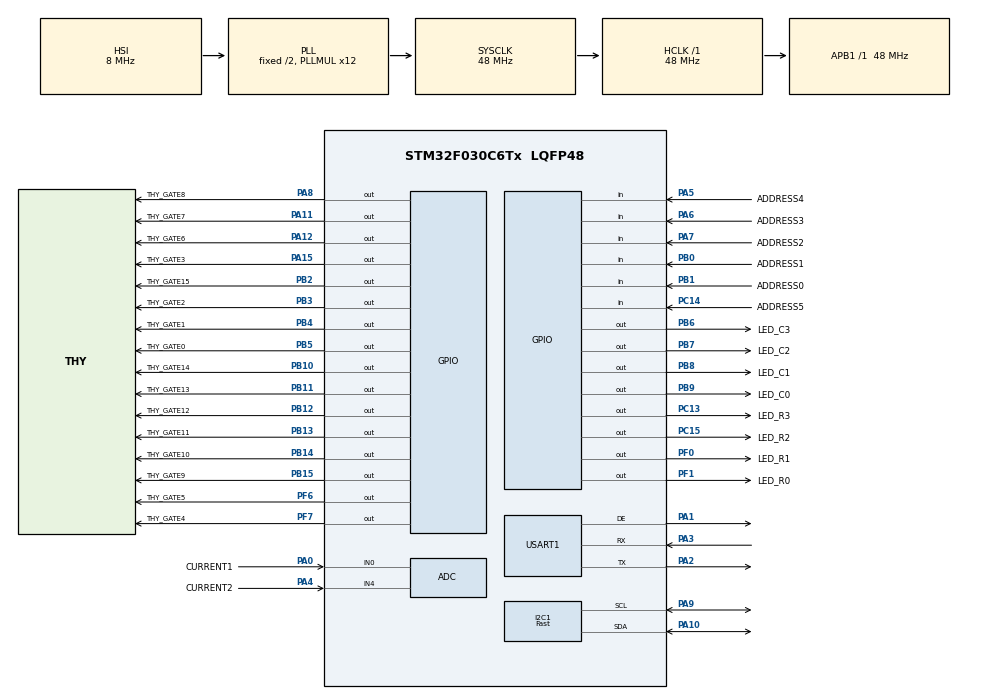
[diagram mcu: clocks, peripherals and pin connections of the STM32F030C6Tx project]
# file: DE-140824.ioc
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I2C1.I2C_Speed_Mode=I2C_Fast
I2C1.Timing=0x0010020A
Mcu.Family=STM32F0
Mcu.Name=STM32F030C6Tx
Mcu.Package=LQFP48
NVIC.TIM14_IRQn=true\:3\:0\:true\:false\:true\:true\:true\:true
NVIC.USART1_IRQn=true\:0\:0\:false\:false\:true\:true\:true\:true
PA0.GPIO_Label=CURRENT1
PA0.Mode=IN0
PA0.Signal=ADC_IN0
PA1.Mode=Hardware Flow Control (RS485)
PA1.Signal=USART1_DE
PA10.Mode=I2C
PA10.Signal=I2C1_SDA
PA11.GPIO_Label=THY_GATE7
PA11.Signal=GPIO_Output
PA12.GPIO_Label=THY_GATE6
PA12.Signal=GPIO_Output
PA13.Mode=Serial_Wire
PA13.Signal=SYS_SWDIO
PA14.Mode=Serial_Wire
PA14.Signal=SYS_SWCLK
PA15.GPIO_Label=THY_GATE3
PA15.Signal=GPIO_Output
PA2.Mode=Asynchronous
PA2.Signal=USART1_TX
PA3.Mode=Asynchronous
PA3.Signal=USART1_RX
PA4.GPIO_Label=CURRENT2
PA4.Mode=IN4
PA4.Signal=ADC_IN4
PA5.GPIO_Label=ADDRESS4
PA5.GPIO_PuPd=GPIO_PULLUP
PA5.Signal=GPIO_Input
PA6.GPIO_Label=ADDRESS3
PA6.GPIO_PuPd=GPIO_PULLUP
PA6.Signal=GPIO_Input
PA7.GPIO_Label=ADDRESS2
PA7.GPIO_PuPd=GPIO_PULLUP
PA7.Signal=GPIO_Input
PA8.GPIO_Label=THY_GATE8
PA8.Signal=GPIO_Output
PA9.Mode=I2C
PA9.Signal=I2C1_SCL
PB0.GPIO_Label=ADDRESS1
PB0.GPIO_PuPd=GPIO_PULLUP
PB0.Signal=GPIO_Input
PB1.GPIO_Label=ADDRESS0
PB1.GPIO_PuPd=GPIO_PULLUP
PB1.Signal=GPIO_Input
PB10.GPIO_Label=THY_GATE14
PB10.Signal=GPIO_Output
PB11.GPIO_Label=THY_GATE13
PB11.Signal=GPIO_Output
PB12.GPIO_Label=THY_GATE12
PB12.Signal=GPIO_Output
PB13.GPIO_Label=THY_GATE11
PB13.Signal=GPIO_Output
PB14.GPIO_Label=THY_GATE10
PB14.Signal=GPIO_Output
PB15.GPIO_Label=THY_GATE9
PB15.Signal=GPIO_Output
PB2.GPIO_Label=THY_GATE15
PB2.Signal=GPIO_Output
PB3.GPIO_Label=THY_GATE2
PB3.Signal=GPIO_Output
PB4.GPIO_Label=THY_GATE1
PB4.Signal=GPIO_Output
PB5.GPIO_Label=THY_GATE0
PB5.Signal=GPIO_Output
PB6.GPIO_Label=LED_C3
PB6.Signal=GPIO_Output
PB7.GPIO_Label=LED_C2
PB7.Signal=GPIO_Output
PB8.GPIO_Label=LED_C1
PB8.Signal=GPIO_Output
PB9.GPIO_Label=LED_C0
PB9.Signal=GPIO_Output
PC13.GPIO_Label=LED_R3
PC13.Signal=GPIO_Output
PC14-OSC32_IN.GPIO_Label=ADDRESS5
PC14-OSC32_IN.GPIO_PuPd=GPIO_PULLUP
PC14-OSC32_IN.Signal=GPIO_Input
PC15-OSC32_OUT.GPIO_Label=LED_R2
PC15-OSC32_OUT.Signal=GPIO_Output
PF0-OSC_IN.GPIO_Label=LED_R1
PF0-OSC_IN.Signal=GPIO_Output
PF1-OSC_OUT.GPIO_Label=LED_R0
PF1-OSC_OUT.Signal=GPIO_Output
PF6.GPIO_Label=THY_GATE5
PF6.Signal=GPIO_Output
PF7.GPIO_Label=THY_GATE4
PF7.Signal=GPIO_Output
ProjectManager.HeapSize=0x200
ProjectManager.StackSize=0x400
ProjectManager.TargetToolchain=MDK-ARM V5.32
RCC.AHBFreq_Value=48000000
RCC.APB1Freq_Value=48000000
RCC.APB1TimFreq_Value=48000000
RCC.HCLKFreq_Value=48000000
RCC.PLLMUL=RCC_PLL_MUL12
RCC.SYSCLKFreq_VALUE=48000000
RCC.SYSCLKSource=RCC_SYSCLKSOURCE_PLLCLK
TIM14.Period=\ 5 - 1
TIM14.Prescaler=48000 - 1
USART1.VirtualMode-Asynchronous=VM_ASYNC
USART1.VirtualMode-Hardware\ Flow\ Control\ (RS485)=VM_ASYNC
VP_CRC_VS_CRC.Mode=CRC_Activate
VP_IWDG_VS_IWDG.Mode=IWDG_Activate
VP_TIM14_VS_ClockSourceINT.Mode=Enable_Timer
board=custom

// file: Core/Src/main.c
/* USER CODE BEGIN Header */
/**
  ******************************************************************************
  * @file           : main.c
  * @brief          : Main program body
  ******************************************************************************
  * @attention
  *
  * Copyright (c) 2025 STMicroelectronics.
  * All rights reserved.
  *
  * This software is licensed under terms that can be found in the LICENSE file
  * in the root directory of this software component.
  * If no LICENSE file comes with this software, it is provided AS-IS.
  *
  ******************************************************************************
  */
/* USER CODE END Header */
#include "main.h"

/* USER CODE BEGIN Includes */
#include <stdio.h>
#include <string.h>
#include <stdarg.h>
#include <stdlib.h>
/* USER CODE END Includes */

/* USER CODE BEGIN PD */
#define NUMBER_OF_TRIAC 16
#define SNAKE_LENGTH 4  // Dužina zmije
#define SNAKE_SPEED 20   // Brzina zmije (veća vrednost = sporije)
#define MENU_TIMEOUT    10000 // 10 sekundi timeout
#define BUTTON_PAUSE    200 // dodatni debouncing
#define TOGGLE_INTERVAL 50 // Period treptanja LED
/* USER CODE END PD */

ADC_HandleTypeDef hadc;

CRC_HandleTypeDef hcrc;

I2C_HandleTypeDef hi2c1;

IWDG_HandleTypeDef hiwdg;

TIM_HandleTypeDef htim14;

UART_HandleTypeDef huart1;

/* USER CODE BEGIN PV */
GPIO_TypeDef *TRIAC_PORT[NUMBER_OF_TRIAC] = {GPIOB, GPIOB, GPIOB, GPIOA, GPIOF, GPIOF, GPIOA, GPIOA, GPIOA, GPIOB, GPIOB, GPIOB, GPIOB, GPIOB, GPIOB, GPIOB};
uint16_t GATE_PIN[NUMBER_OF_TRIAC] = {GPIO_PIN_5, GPIO_PIN_4, GPIO_PIN_3, GPIO_PIN_15, GPIO_PIN_7, GPIO_PIN_6 ,GPIO_PIN_12 ,GPIO_PIN_11, GPIO_PIN_8, \
                        GPIO_PIN_15, GPIO_PIN_14, GPIO_PIN_13, GPIO_PIN_12, GPIO_PIN_11, GPIO_PIN_10, GPIO_PIN_2};

volatile uint8_t snake_head = 0;  // Trenutna glava zmije
volatile uint8_t snake_counter = 0;  // Brojač za usporavanje

// Stanje LED dioda (simulacija konstante, treba postavljati u aplikaciji)
volatile uint8_t led_states[NUMBER_OF_TRIAC] = {0};
volatile uint8_t triac_states[NUMBER_OF_TRIAC] = {0};  // Trenutnostanje releja

// Trenutno aktivni red
volatile uint8_t active_row = 0;

volatile uint32_t last_press_time = 0;
volatile uint32_t menu_timer = 0;
volatile uint32_t last_toggle_time = 0;
volatile uint8_t toggle_state = 0;
volatile uint8_t menu_activ = 0;
volatile uint8_t selected_channel = NUMBER_OF_TRIAC - 1;
volatile uint8_t button_select_prev = 0, button_onoff_prev = 0;
volatile uint8_t my_address = 0;
volatile uint8_t first_toggle = 1;
volatile uint16_t triac_start = 0;
volatile uint16_t triac_end = 0;
bool init_tf = false;
bool restart = false;
bool setup_mod = false;
uint8_t rec;
TinyFrame tfapp;
/* USER CODE END PV */

void SystemClock_Config(void);
static void MX_GPIO_Init(void);
static void MX_ADC_Init(void);
static void MX_I2C1_Init(void);
static void MX_IWDG_Init(void);
static void MX_USART1_UART_Init(void);
static void MX_CRC_Init(void);
static void MX_TIM14_Init(void);
/* USER CODE BEGIN PFP */
void RS485_Init(void);
/* USER CODE END PFP */

/* USER CODE BEGIN 0 */
/**
  * @brief  staticka inline funkcija pauze 1~2ms za kašnjenje odgovora za stabilne repeatere
  *         u interruptu se ne može koristiti HAL_GetTick ni HAL_Delay tako da ova funkcija
  *         obezbjeduje kašnjenje oko 1 ms bez hal drivera gubljenjem vremena izvršavanjem
  *         ciklusa koji ne rade ništa
  * @param
  * @retval
  */
static inline void delay_us(uint32_t us) {
    volatile uint32_t cycles = (HAL_RCC_GetHCLKFreq() / 20000000) * us;  // Smanjen faktor
    while (cycles--) {
        __asm volatile("NOP");  // Izbegava optimizaciju
    }
}
/**
  * @brief Podesi rs485 adresu  uređaja prema poziciji DIP sitcheva
  * @retval None
  */
void get_address(void)
{
    my_address = 0;
    if ((HAL_GPIO_ReadPin(ADDRESS0_GPIO_Port, ADDRESS0_Pin) == GPIO_PIN_RESET))   my_address |= 0x20;
    if ((HAL_GPIO_ReadPin(ADDRESS1_GPIO_Port, ADDRESS1_Pin) == GPIO_PIN_RESET))   my_address |= 0x10;
    if ((HAL_GPIO_ReadPin(ADDRESS2_GPIO_Port, ADDRESS2_Pin) == GPIO_PIN_RESET))   my_address |= 0x08;
    if ((HAL_GPIO_ReadPin(ADDRESS3_GPIO_Port, ADDRESS3_Pin) == GPIO_PIN_RESET))   my_address |= 0x04;
    if ((HAL_GPIO_ReadPin(ADDRESS4_GPIO_Port, ADDRESS4_Pin) == GPIO_PIN_RESET))   my_address |= 0x02;
    if ((HAL_GPIO_ReadPin(ADDRESS5_GPIO_Port, ADDRESS5_Pin) == GPIO_PIN_RESET))   my_address |= 0x01;
    if(my_address)
    {
        triac_start = (NUMBER_OF_TRIAC*(my_address-1))+1;
        triac_end = triac_start + NUMBER_OF_TRIAC - 1;
    }
}
/**
  * @brief LED efect for settings menu
  * @retval None
  */
void update_snake(void)
{
    if (++snake_counter < SNAKE_SPEED) {
        return;  // Čekamo dok ne prođe dovoljno ciklusa
    }
    snake_counter = 0;  // Reset brojača

    // Očisti prethodno stanje LED-ova
    for (uint8_t i = 0; i < 16; i++) {
        led_states[i] = 0;  // Privremeno uklanjamo const
    }

    // Podesi svetleće LED-ove
    for (uint8_t i = 0; i < SNAKE_LENGTH; i++) {
        int8_t pos = snake_head - i;
        if (pos < 0) pos += 16;  // Omogućava kružno kretanje po matrici
        led_states[pos] = 1;  // Upali LED
    }

    // Pomeraj zmiju napred
    snake_head = (snake_head + 1) % 16;
}
/**
  * @brief Refresh triac gate outputs
  * @retval None
  */
void set_triac(void)
{
    // Samo proleti kroz sve izlaze i postavi stanje prema baferu
    for (uint8_t i = 0; i < NUMBER_OF_TRIAC; i++)
    {
        HAL_GPIO_WritePin(TRIAC_PORT[i], GATE_PIN[i], (triac_states[i] > 0) ? GPIO_PIN_SET : GPIO_PIN_RESET);
    }
}
/**
  * @brief Copy triac states to LED
  * @retval None
  */
void refresh_led(void)
{
    // Samo kopiraj izlaze na LED
    for (uint8_t i = 0; i < NUMBER_OF_TRIAC; i++)
    {
        led_states[i] = triac_states[i];
    }
}
/**
  * @brief Funkcija za osvežavanje LED matrice
  * @retval None
  */
void refresh_led_matrix(void)
{
    // Isključi trenutno aktivni red
    HAL_GPIO_WritePin(LED_R0_GPIO_Port, LED_R0_Pin, GPIO_PIN_RESET);
    HAL_GPIO_WritePin(LED_R1_GPIO_Port, LED_R1_Pin, GPIO_PIN_RESET);
    HAL_GPIO_WritePin(LED_R2_GPIO_Port, LED_R2_Pin, GPIO_PIN_RESET);
    HAL_GPIO_WritePin(LED_R3_GPIO_Port, LED_R3_Pin, GPIO_PIN_RESET);

    // Očisti kolone
    HAL_GPIO_WritePin(LED_C0_GPIO_Port, LED_C0_Pin, GPIO_PIN_SET);
    HAL_GPIO_WritePin(LED_C1_GPIO_Port, LED_C1_Pin, GPIO_PIN_SET);
    HAL_GPIO_WritePin(LED_C2_GPIO_Port, LED_C2_Pin, GPIO_PIN_SET);
    HAL_GPIO_WritePin(LED_C3_GPIO_Port, LED_C3_Pin, GPIO_PIN_SET);

    // Aktiviraj sledeći red
    switch (active_row) {
    case 0:
        HAL_GPIO_WritePin(LED_R0_GPIO_Port, LED_R0_Pin, GPIO_PIN_SET);
        break;
    case 1:
        HAL_GPIO_WritePin(LED_R1_GPIO_Port, LED_R1_Pin, GPIO_PIN_SET);
        break;
    case 2:
        HAL_GPIO_WritePin(LED_R2_GPIO_Port, LED_R2_Pin, GPIO_PIN_SET);
        break;
    case 3:
        HAL_GPIO_WritePin(LED_R3_GPIO_Port, LED_R3_Pin, GPIO_PIN_SET);
        break;
    }

    // Postavi kolone na osnovu led_state[] tako da se kolone i redovi zamjene
    for (uint8_t row = 0; row < 4; row++) {
        uint8_t index = row * 4 + active_row;  // Zamjeni red i kolonu
        if (led_states[index]) {
            switch (row) {
            case 0:
                HAL_GPIO_WritePin(LED_C0_GPIO_Port, LED_C0_Pin, GPIO_PIN_RESET);
                break;
            case 1:
                HAL_GPIO_WritePin(LED_C1_GPIO_Port, LED_C1_Pin, GPIO_PIN_RESET);
                break;
            case 2:
                HAL_GPIO_WritePin(LED_C2_GPIO_Port, LED_C2_Pin, GPIO_PIN_RESET);
                break;
            case 3:
                HAL_GPIO_WritePin(LED_C3_GPIO_Port, LED_C3_Pin, GPIO_PIN_RESET);
                break;
            }
        }
    }

    // Prebaci na sledeći red
    active_row = (active_row + 1) % 4;
}
/**
  * @brief Front panel taster button processing function
  * @retval None
  */
void handle_buttons(void)
{
    uint32_t current_time = HAL_GetTick();
    uint8_t button_select = HAL_GPIO_ReadPin(GPIOA, GPIO_PIN_14);
    uint8_t button_onoff = HAL_GPIO_ReadPin(GPIOA, GPIO_PIN_13);

    if (button_select == GPIO_PIN_RESET) {
        if (!button_select_prev) {
            button_select_prev = 1; // lock press time load
            menu_activ = 1;
            first_toggle = 1;
            if (++selected_channel >= NUMBER_OF_TRIAC) selected_channel = 0;
            toggle_state = triac_states[selected_channel]; // Resetuj toggle_state po novom kanalu
            menu_timer = current_time + MENU_TIMEOUT;
            last_press_time = current_time; // load first press time
            refresh_led();
            get_address(); // ponovo uzmi adresu
            HAL_Delay(BUTTON_PAUSE);
        }
    }
    else if ((button_select == GPIO_PIN_SET) && button_select_prev)
    {
        button_select_prev = 0;
        HAL_Delay(BUTTON_PAUSE);
        refresh_led();
    }

    if (menu_activ && (button_onoff == GPIO_PIN_RESET)) {
        if (!button_onoff_prev) {
            button_onoff_prev = 1; // lock press time load
            last_press_time = current_time; // load first press time
            triac_states[selected_channel] ^= 1; // Toggle stanja triaka

            // Resetujemo first_toggle i toggle_state kako bi ispravno započelo treperenje
            first_toggle = 1;
            toggle_state = triac_states[selected_channel];
            HAL_Delay(BUTTON_PAUSE);
            refresh_led();
        }
        menu_timer = current_time + MENU_TIMEOUT;
    }
    else if ((button_onoff == GPIO_PIN_SET) && button_onoff_prev)
    {
        button_onoff_prev = 0; // release button press
        HAL_Delay(BUTTON_PAUSE);
    }
}
/**
  * @brief Jednostavan meni za podešavanje stanja izlaza sa različitim odnosom pauze i signala
  *         odabrane LED prema stanju izlaza kraći signal duža pauza za isključen izlaz
  * @retval None
  */
void menu_logic(void)
{
    uint32_t current_time = HAL_GetTick();

    // Resetujemo meni ako istekne vrijeme
    if (current_time > menu_timer) {
        selected_channel = NUMBER_OF_TRIAC - 1;
        menu_activ = 0;
        toggle_state = 0;
        refresh_led();
        first_toggle = 1;  // Resetuj first_toggle ako se resetuje meni
    }

    // Definiši vremenske intervale zavisno od triac_states
    uint32_t on_time, off_time;
    if (triac_states[selected_channel] == 1) {
        on_time = TOGGLE_INTERVAL * 5;  // LED ON duže
        off_time = TOGGLE_INTERVAL;     // LED OFF kraće
    } else {
        on_time = TOGGLE_INTERVAL;      // LED ON kraće
        off_time = TOGGLE_INTERVAL * 5; // LED OFF duže
    }

    // Pri prvom ulasku postavi početno stanje
    if (first_toggle) {
        toggle_state = triac_states[selected_channel]; // Ako je triac_state 1, LED počinje upaljena
        last_toggle_time = current_time;  // Resetujemo timer
        first_toggle = 0; // Obilježimo da više nije prvi ulazak
    }

    // Odredi trenutno trajanje na osnovu toggle_state
    uint32_t toggle_period = toggle_state ? on_time : off_time;

    // Ako je prošao period, promjeni stanje
    if (current_time - last_toggle_time >= toggle_period) {
        led_states[selected_channel] ^= 1;  // Toggler LED stanje
        toggle_state = !toggle_state;       // Promjena stanja za sljedeći ciklus
        last_toggle_time = current_time;    // Ažuriraj vrijeme zadnjeg toggle-a
    }
}
/**
  * @brief LED efect for settings menu
  * @retval None
  */
void start_effect(void)
{
    setup_mod = true;
    HAL_Delay(1200);
#ifdef USE_WATCHDOG
    HAL_IWDG_Refresh(&hiwdg);
#endif
    HAL_Delay(1200);
#ifdef USE_WATCHDOG
    HAL_IWDG_Refresh(&hiwdg);
#endif
    HAL_Delay(1200);
#ifdef USE_WATCHDOG
    HAL_IWDG_Refresh(&hiwdg);
#endif
    setup_mod = false;
    for (uint8_t i = 0; i < NUMBER_OF_TRIAC; i++)
    {
        led_states[i] = 0;
    }
HAL_Delay(100);
#ifdef USE_WATCHDOG
    HAL_IWDG_Refresh(&hiwdg);
#endif
    for (uint8_t i = 0; i < NUMBER_OF_TRIAC; i++)
    {
        led_states[i] = 1;
    }
HAL_Delay(100);
#ifdef USE_WATCHDOG
    HAL_IWDG_Refresh(&hiwdg);
#endif
    for (uint8_t i = 0; i < NUMBER_OF_TRIAC; i++)
    {
        led_states[i] = 0;
    }
HAL_Delay(100);
#ifdef USE_WATCHDOG
    HAL_IWDG_Refresh(&hiwdg);
#endif
    for (uint8_t i = 0; i < NUMBER_OF_TRIAC; i++)
    {
        led_states[i] = 1;
    }
HAL_Delay(100);
#ifdef USE_WATCHDOG
    HAL_IWDG_Refresh(&hiwdg);
#endif
    for (uint8_t i = 0; i < NUMBER_OF_TRIAC; i++)
    {
        led_states[i] = 0;
    }
HAL_Delay(100);
#ifdef USE_WATCHDOG
    HAL_IWDG_Refresh(&hiwdg);
#endif
    for (uint8_t i = 0; i < NUMBER_OF_TRIAC; i++)
    {
        led_states[i] = 1;
    }
HAL_Delay(100);
#ifdef USE_WATCHDOG
    HAL_IWDG_Refresh(&hiwdg);
#endif
    for (uint8_t i = 0; i < NUMBER_OF_TRIAC; i++)
    {
        led_states[i] = 0;
    }
}
/* USER CODE END 0 */

int main(void)
{

    /* MCU Configuration--------------------------------------------------------*/

    /* Reset of all peripherals, Initializes the Flash interface and the Systick. */
    HAL_Init();

    /* Configure the system clock */
    SystemClock_Config();

    /* Initialize all configured peripherals */
    MX_GPIO_Init();
    MX_ADC_Init();
    MX_I2C1_Init();
    MX_IWDG_Init();
    MX_USART1_UART_Init();
    MX_CRC_Init();
    MX_TIM14_Init();
    /* USER CODE BEGIN 2 */
    RS485_Init();
    get_address();
    start_effect();
    /* USER CODE END 2 */

    /* Infinite loop */
    /* USER CODE BEGIN WHILE */
    while (1)
    {
        if(restart == true) Error_Handler(); // resetuj modul ako je flag dignut
#ifndef USE_DEBUGGER
        handle_buttons();
        menu_logic();
#endif
        /* USER CODE END WHILE */

        /* USER CODE BEGIN 3 */
        set_triac();

#ifdef USE_WATCHDOG
        HAL_IWDG_Refresh(&hiwdg);
#endif
    }
    /* USER CODE END 3 */
}

void SystemClock_Config(void)
{
    RCC_OscInitTypeDef RCC_OscInitStruct = {0};
    RCC_ClkInitTypeDef RCC_ClkInitStruct = {0};
    RCC_PeriphCLKInitTypeDef PeriphClkInit = {0};

    /** Initializes the RCC Oscillators according to the specified parameters
    * in the RCC_OscInitTypeDef structure.
    */
    RCC_OscInitStruct.OscillatorType = RCC_OSCILLATORTYPE_HSI|RCC_OSCILLATORTYPE_HSI14
                                       |RCC_OSCILLATORTYPE_LSI;
    RCC_OscInitStruct.HSIState = RCC_HSI_ON;
    RCC_OscInitStruct.HSI14State = RCC_HSI14_ON;
    RCC_OscInitStruct.HSICalibrationValue = RCC_HSICALIBRATION_DEFAULT;
    RCC_OscInitStruct.HSI14CalibrationValue = 16;
    RCC_OscInitStruct.LSIState = RCC_LSI_ON;
    RCC_OscInitStruct.PLL.PLLState = RCC_PLL_ON;
    RCC_OscInitStruct.PLL.PLLSource = RCC_PLLSOURCE_HSI;
    RCC_OscInitStruct.PLL.PLLMUL = RCC_PLL_MUL12;
    RCC_OscInitStruct.PLL.PREDIV = RCC_PREDIV_DIV1;
    if (HAL_RCC_OscConfig(&RCC_OscInitStruct) != HAL_OK)
    {
        Error_Handler();
    }

    /** Initializes the CPU, AHB and APB buses clocks
    */
    RCC_ClkInitStruct.ClockType = RCC_CLOCKTYPE_HCLK|RCC_CLOCKTYPE_SYSCLK
                                  |RCC_CLOCKTYPE_PCLK1;
    RCC_ClkInitStruct.SYSCLKSource = RCC_SYSCLKSOURCE_PLLCLK;
    RCC_ClkInitStruct.AHBCLKDivider = RCC_SYSCLK_DIV1;
    RCC_ClkInitStruct.APB1CLKDivider = RCC_HCLK_DIV1;

    if (HAL_RCC_ClockConfig(&RCC_ClkInitStruct, FLASH_LATENCY_1) != HAL_OK)
    {
        Error_Handler();
    }
    PeriphClkInit.PeriphClockSelection = RCC_PERIPHCLK_USART1|RCC_PERIPHCLK_I2C1;
    PeriphClkInit.Usart1ClockSelection = RCC_USART1CLKSOURCE_PCLK1;
    PeriphClkInit.I2c1ClockSelection = RCC_I2C1CLKSOURCE_HSI;
    if (HAL_RCCEx_PeriphCLKConfig(&PeriphClkInit) != HAL_OK)
    {
        Error_Handler();
    }
}

static void MX_ADC_Init(void)
{

    ADC_ChannelConfTypeDef sConfig = {0};

    /** Configure the global features of the ADC (Clock, Resolution, Data Alignment and number of conversion)
    */
    hadc.Instance = ADC1;
    hadc.Init.ClockPrescaler = ADC_CLOCK_ASYNC_DIV1;
    hadc.Init.Resolution = ADC_RESOLUTION_12B;
    hadc.Init.DataAlign = ADC_DATAALIGN_RIGHT;
    hadc.Init.ScanConvMode = ADC_SCAN_DIRECTION_FORWARD;
    hadc.Init.EOCSelection = ADC_EOC_SINGLE_CONV;
    hadc.Init.LowPowerAutoWait = DISABLE;
    hadc.Init.LowPowerAutoPowerOff = DISABLE;
    hadc.Init.ContinuousConvMode = DISABLE;
    hadc.Init.DiscontinuousConvMode = DISABLE;
    hadc.Init.ExternalTrigConv = ADC_SOFTWARE_START;
    hadc.Init.ExternalTrigConvEdge = ADC_EXTERNALTRIGCONVEDGE_NONE;
    hadc.Init.DMAContinuousRequests = DISABLE;
    hadc.Init.Overrun = ADC_OVR_DATA_PRESERVED;
    if (HAL_ADC_Init(&hadc) != HAL_OK)
    {
        Error_Handler();
    }

    /** Configure for the selected ADC regular channel to be converted.
    */
    sConfig.Channel = ADC_CHANNEL_0;
    sConfig.Rank = ADC_RANK_CHANNEL_NUMBER;
    sConfig.SamplingTime = ADC_SAMPLETIME_1CYCLE_5;
    if (HAL_ADC_ConfigChannel(&hadc, &sConfig) != HAL_OK)
    {
        Error_Handler();
    }

    /** Configure for the selected ADC regular channel to be converted.
    */
    sConfig.Channel = ADC_CHANNEL_4;
    if (HAL_ADC_ConfigChannel(&hadc, &sConfig) != HAL_OK)
    {
        Error_Handler();
    }

}

static void MX_CRC_Init(void)
{

    hcrc.Instance = CRC;
    hcrc.Init.DefaultInitValueUse = DEFAULT_INIT_VALUE_ENABLE;
    hcrc.Init.InputDataInversionMode = CRC_INPUTDATA_INVERSION_NONE;
    hcrc.Init.OutputDataInversionMode = CRC_OUTPUTDATA_INVERSION_DISABLE;
    hcrc.InputDataFormat = CRC_INPUTDATA_FORMAT_BYTES;
    if (HAL_CRC_Init(&hcrc) != HAL_OK)
    {
        Error_Handler();
    }

}

static void MX_I2C1_Init(void)
{

    hi2c1.Instance = I2C1;
    hi2c1.Init.Timing = 0x0010020A;
    hi2c1.Init.OwnAddress1 = 0;
    hi2c1.Init.AddressingMode = I2C_ADDRESSINGMODE_7BIT;
    hi2c1.Init.DualAddressMode = I2C_DUALADDRESS_DISABLE;
    hi2c1.Init.OwnAddress2 = 0;
    hi2c1.Init.OwnAddress2Masks = I2C_OA2_NOMASK;
    hi2c1.Init.GeneralCallMode = I2C_GENERALCALL_DISABLE;
    hi2c1.Init.NoStretchMode = I2C_NOSTRETCH_DISABLE;
    if (HAL_I2C_Init(&hi2c1) != HAL_OK)
    {
        Error_Handler();
    }

    /** Configure Analogue filter
    */
    if (HAL_I2CEx_ConfigAnalogFilter(&hi2c1, I2C_ANALOGFILTER_ENABLE) != HAL_OK)
    {
        Error_Handler();
    }

    /** Configure Digital filter
    */
    if (HAL_I2CEx_ConfigDigitalFilter(&hi2c1, 0) != HAL_OK)
    {
        Error_Handler();
    }

}

static void MX_IWDG_Init(void)
{

    /* USER CODE BEGIN IWDG_Init 0 */
#ifdef USE_WATCHDOG
    /* USER CODE END IWDG_Init 0 */

    hiwdg.Instance = IWDG;
    hiwdg.Init.Prescaler = IWDG_PRESCALER_32;
    hiwdg.Init.Window = 4095;
    hiwdg.Init.Reload = 4095;
    if (HAL_IWDG_Init(&hiwdg) != HAL_OK)
    {
        Error_Handler();
    }
    /* USER CODE BEGIN IWDG_Init 2 */
#endif
    /* USER CODE END IWDG_Init 2 */

}

static void MX_TIM14_Init(void)
{

    htim14.Instance = TIM14;
    htim14.Init.Prescaler = 48000 - 1;
    htim14.Init.CounterMode = TIM_COUNTERMODE_UP;
    htim14.Init.Period = 5 - 1;
    htim14.Init.ClockDivision = TIM_CLOCKDIVISION_DIV1;
    htim14.Init.AutoReloadPreload = TIM_AUTORELOAD_PRELOAD_DISABLE;
    if (HAL_TIM_Base_Init(&htim14) != HAL_OK)
    {
        Error_Handler();
    }
    /* USER CODE BEGIN TIM14_Init 2 */
    HAL_TIM_Base_Start_IT(&htim14);
    /* USER CODE END TIM14_Init 2 */

}

static void MX_USART1_UART_Init(void)
{

    huart1.Instance = USART1;
    huart1.Init.BaudRate = 115200;
    huart1.Init.WordLength = UART_WORDLENGTH_8B;
    huart1.Init.StopBits = UART_STOPBITS_1;
    huart1.Init.Parity = UART_PARITY_NONE;
    huart1.Init.Mode = UART_MODE_TX_RX;
    huart1.Init.HwFlowCtl = UART_HWCONTROL_NONE;
    huart1.Init.OverSampling = UART_OVERSAMPLING_16;
    huart1.Init.OneBitSampling = UART_ONE_BIT_SAMPLE_DISABLE;
    huart1.AdvancedInit.AdvFeatureInit = UART_ADVFEATURE_NO_INIT;

    if (HAL_RS485Ex_Init(&huart1, UART_DE_POLARITY_HIGH, 3, 3) != HAL_OK)
    {
        Error_Handler();
    }

}

static void MX_GPIO_Init(void)
{
    GPIO_InitTypeDef GPIO_InitStruct = {0};

    /* GPIO Ports Clock Enable */
    __HAL_RCC_GPIOC_CLK_ENABLE();
    __HAL_RCC_GPIOF_CLK_ENABLE();
    __HAL_RCC_GPIOA_CLK_ENABLE();
    __HAL_RCC_GPIOB_CLK_ENABLE();

    /*Configure GPIO pin Output Level */
    HAL_GPIO_WritePin(GPIOC, LED_R3_Pin|LED_R2_Pin, GPIO_PIN_RESET);

    /*Configure GPIO pin Output Level */
    HAL_GPIO_WritePin(GPIOF, LED_R1_Pin|LED_R0_Pin|THY_GATE5_Pin|THY_GATE4_Pin, GPIO_PIN_RESET);

    /*Configure GPIO pin Output Level */
    HAL_GPIO_WritePin(GPIOB, THY_GATE15_Pin|THY_GATE14_Pin|THY_GATE13_Pin|THY_GATE12_Pin
                      |THY_GATE11_Pin|THY_GATE10_Pin|THY_GATE9_Pin|THY_GATE2_Pin
                      |THY_GATE1_Pin|THY_GATE0_Pin|LED_C3_Pin|LED_C2_Pin
                      |LED_C1_Pin|LED_C0_Pin, GPIO_PIN_RESET);

    /*Configure GPIO pin Output Level */
    HAL_GPIO_WritePin(GPIOA, THY_GATE8_Pin|THY_GATE7_Pin|THY_GATE6_Pin|THY_GATE3_Pin, GPIO_PIN_RESET);

    /*Configure GPIO pins : LED_R3_Pin LED_R2_Pin */
    GPIO_InitStruct.Pin = LED_R3_Pin|LED_R2_Pin;
    GPIO_InitStruct.Mode = GPIO_MODE_OUTPUT_PP;
    GPIO_InitStruct.Pull = GPIO_NOPULL;
    GPIO_InitStruct.Speed = GPIO_SPEED_FREQ_LOW;
    HAL_GPIO_Init(GPIOC, &GPIO_InitStruct);

    /*Configure GPIO pin : ADDRESS5_Pin */
    GPIO_InitStruct.Pin = ADDRESS5_Pin;
    GPIO_InitStruct.Mode = GPIO_MODE_INPUT;
    GPIO_InitStruct.Pull = GPIO_PULLUP;
    HAL_GPIO_Init(ADDRESS5_GPIO_Port, &GPIO_InitStruct);

    /*Configure GPIO pins : LED_R1_Pin LED_R0_Pin THY_GATE5_Pin THY_GATE4_Pin */
    GPIO_InitStruct.Pin = LED_R1_Pin|LED_R0_Pin|THY_GATE5_Pin|THY_GATE4_Pin;
    GPIO_InitStruct.Mode = GPIO_MODE_OUTPUT_PP;
    GPIO_InitStruct.Pull = GPIO_NOPULL;
    GPIO_InitStruct.Speed = GPIO_SPEED_FREQ_LOW;
    HAL_GPIO_Init(GPIOF, &GPIO_InitStruct);

    /*Configure GPIO pins : ADDRESS4_Pin ADDRESS3_Pin ADDRESS2_Pin */
    GPIO_InitStruct.Pin = ADDRESS4_Pin|ADDRESS3_Pin|ADDRESS2_Pin;
    GPIO_InitStruct.Mode = GPIO_MODE_INPUT;
    GPIO_InitStruct.Pull = GPIO_PULLUP;
    HAL_GPIO_Init(GPIOA, &GPIO_InitStruct);

    /*Configure GPIO pins : ADDRESS1_Pin ADDRESS0_Pin */
    GPIO_InitStruct.Pin = ADDRESS1_Pin|ADDRESS0_Pin;
    GPIO_InitStruct.Mode = GPIO_MODE_INPUT;
    GPIO_InitStruct.Pull = GPIO_PULLUP;
    HAL_GPIO_Init(GPIOB, &GPIO_InitStruct);

    /*Configure GPIO pins : THY_GATE15_Pin THY_GATE14_Pin THY_GATE13_Pin THY_GATE12_Pin
                             THY_GATE11_Pin THY_GATE10_Pin THY_GATE9_Pin THY_GATE2_Pin
                             THY_GATE1_Pin THY_GATE0_Pin LED_C3_Pin LED_C2_Pin
                             LED_C1_Pin LED_C0_Pin */
    GPIO_InitStruct.Pin = THY_GATE15_Pin|THY_GATE14_Pin|THY_GATE13_Pin|THY_GATE12_Pin
                          |THY_GATE11_Pin|THY_GATE10_Pin|THY_GATE9_Pin|THY_GATE2_Pin
                          |THY_GATE1_Pin|THY_GATE0_Pin|LED_C3_Pin|LED_C2_Pin
                          |LED_C1_Pin|LED_C0_Pin;
    GPIO_InitStruct.Mode = GPIO_MODE_OUTPUT_PP;
    GPIO_InitStruct.Pull = GPIO_NOPULL;
    GPIO_InitStruct.Speed = GPIO_SPEED_FREQ_LOW;
    HAL_GPIO_Init(GPIOB, &GPIO_InitStruct);

    /*Configure GPIO pins : THY_GATE8_Pin THY_GATE7_Pin THY_GATE6_Pin THY_GATE3_Pin */
    GPIO_InitStruct.Pin = THY_GATE8_Pin|THY_GATE7_Pin|THY_GATE6_Pin|THY_GATE3_Pin;
    GPIO_InitStruct.Mode = GPIO_MODE_OUTPUT_PP;
    GPIO_InitStruct.Pull = GPIO_NOPULL;
    GPIO_InitStruct.Speed = GPIO_SPEED_FREQ_LOW;
    HAL_GPIO_Init(GPIOA, &GPIO_InitStruct);

    /* USER CODE BEGIN MX_GPIO_Init_2 */
#ifndef USE_DEBUGGER
    /*Configure GPIO pins : ADDRESS4_Pin ADDRESS3_Pin ADDRESS2_Pin */
    GPIO_InitStruct.Pin = GPIO_PIN_13|GPIO_PIN_14;
    GPIO_InitStruct.Mode = GPIO_MODE_INPUT;
    GPIO_InitStruct.Pull = GPIO_PULLUP;
    HAL_GPIO_Init(GPIOA, &GPIO_InitStruct);
#endif
    /* USER CODE END MX_GPIO_Init_2 */
}

/* USER CODE BEGIN 4 */
// Timer interrupt callback
void HAL_TIM_PeriodElapsedCallback(TIM_HandleTypeDef *htim)
{
    if (htim->Instance == TIM14) {
        if(setup_mod == true) update_snake();  // Ažuriraj stanje zmije ako je mod podešavanja aktivan
        refresh_led_matrix();
    }
}
/**
  * @brief  Sluša bus za paket sa BINARY_SET tipom i provjerava adresirani izlaz
  *         ako je u sopstvenom opsegu reaguje na ostale ne odgovara
  * @param
  * @retval
  */
TF_Result BINARY_SET_Listener(TinyFrame *tf, TF_Msg *msg)
{
    uint8_t res = 0;
    uint16_t adr = (uint16_t) (msg->data[0] << 8) | msg->data[1]; // Kombinacija dva bajta u adresu
    uint8_t idx = adr - triac_start; // Izračunavanje indeksa triaka
    uint8_t ret[4]; // Niz za vraćanje stanja

    // Provjeravamo da li je adresa unutar opsega triac_start i triac_end
    if (adr && my_address && (adr >= triac_start) && (adr <= triac_end)) {
        if (msg->data[2] == 0x01) {
            triac_states[idx] = 1;  // Uključivanje triaka
        } else if (msg->data[2] == 0x02) {
            triac_states[idx] = 0;  // Isključivanje triaka
        }
        refresh_led();
        res++;  // Povećavamo broj uspešnih operacija
    }

    // Ako je došlo do promene stanja, vraćamo novo stanje
    if (res == 1) {
        ret[0] = msg->data[0];
        ret[1] = msg->data[1];
        if (triac_states[idx] == 1) {
            ret[2] = 1;  // Stanje 1 (ON)
        } else {
            ret[2] = 2;  // Stanje 2 (OFF)
        }
        ret[3] = ACK; // Dodaj bajt potvrde
        msg->data = ret;  // Postavljamo novi niz za odgovor
        msg->len = 4;  // Dužina odgovora je 4 bajta
        TF_Respond(tf, msg);  // Odgovaramo sa novim stanjem
    }

    return TF_STAY;  // Održavanje trenutnog stanja
}
/**
  * @brief  Sluša bus za paket sa BINARY_GET tipom i provjerava adresirani izlaz
  *         ako je u sopstvenom opsegu odgovara sa stanjem na ostale ne odgovara
  * @param
  * @retval
  */
TF_Result BINARY_GET_Listener(TinyFrame *tf, TF_Msg *msg)
{
    uint16_t adr = (uint16_t) (msg->data[0] << 8) | msg->data[1]; // Kombinacija dva bajta u adresu
    uint8_t idx = adr - triac_start; // Izračunavanje indeksa triaka
    uint8_t ret[3]; // Niz za vraćanje stanja

    // Proveravamo da li je adresa unutar opsega rel_start i rel_end
    if (adr && my_address && (adr >= triac_start) && (adr <= triac_end)) {
        // Vraćamo stanje releja na toj adresi
        ret[0] = msg->data[0];
        ret[1] = msg->data[1];
        if (triac_states[idx] == 1) {
            ret[2] = 1;  // Stanje 1 (ON)
        } else {
            ret[2] = 2;  // Stanje 2 (OFF)
        }
        msg->data = ret;  // Postavljamo novi niz sa stanjem releja
        msg->len = 3;  // Dužina odgovora je 3 bajta
        TF_Respond(tf, msg);  // Odgovaramo sa stanjem releja
    }

    return TF_STAY;  // Održavanje trenutnog stanja
}
/**
  * @brief  Sluša bus za paket sa BINARY_RESET tipom i provjerava adresirani izlaz
  *         ako je u sopstvenom opsegu setuje flag odgovara i nakon odogovora pokreće reset
  * @param
  * @retval
  */
TF_Result BINARY_RESET_Listener(TinyFrame *tf, TF_Msg *msg)
{
    uint16_t adr = (uint16_t) (msg->data[0] << 8) | msg->data[1]; // Kombinacija dva bajta u adresu
    uint8_t idx = adr - triac_start; // Izračunavanje indeksa triaka
    uint8_t ret[3]; // Niz za vraćanje stanja

    // Proveravamo da li je adresa unutar opsega rel_start i rel_end
    if (adr && my_address && (adr >= triac_start) && (adr <= triac_end)) {
        restart = true; // setujemo flag a ne restartujemo odmah da bi vratili odgovor
        // Vraćamo ACK
        ret[0] = msg->data[0];
        ret[1] = msg->data[1];
        ret[2] = ACK;
        msg->data = ret;  // Postavljamo novi niz sa stanjem releja
        msg->len = 3;  // Dužina odgovora je 3 bajta
        TF_Respond(tf, msg);  // Odgovaramo sa stanjem releja
    }

    return TF_STAY;  // Održavanje trenutnog stanja
}
/**
  * @brief
  * @param
  * @retval
  */
void RS485_Init(void)
{
    if(!init_tf) {
        init_tf = TF_InitStatic(&tfapp, TF_SLAVE);
        TF_AddTypeListener(&tfapp, BINARY_GET, BINARY_GET_Listener);
        TF_AddTypeListener(&tfapp, BINARY_SET, BINARY_SET_Listener);
        TF_AddTypeListener(&tfapp, BINARY_RESET, BINARY_RESET_Listener);
    }
    HAL_UART_Receive_IT(&huart1, &rec, 1);
}
/**
  * @brief
  * @param
  * @retval
  */
void RS485_Tick(void)
{
    if (init_tf == true) {
        TF_Tick(&tfapp);
    }
}
/**
  * @brief
  * @param
  * @retval
  */
void TF_WriteImpl(TinyFrame *tf, const uint8_t *buff, uint32_t len)
{
    delay_us(2000); // puza kod odgovora zbog repeatera na linji
    HAL_UART_Transmit(&huart1,(uint8_t*)buff, len, RESP_TOUT);
    HAL_UART_Receive_IT(&huart1, &rec, 1);
}
/**
  * @brief
  * @param
  * @retval
  */
void HAL_UART_RxCpltCallback(UART_HandleTypeDef *huart)
{
    TF_AcceptChar(&tfapp, rec);
    HAL_UART_Receive_IT(&huart1, &rec, 1);
}
/**
  * @brief
  * @param
  * @retval
  */
void HAL_UART_TxCpltCallback(UART_HandleTypeDef *huart)
{
}
/**
  * @brief
  * @param
  * @retval
  */
void HAL_UART_ErrorCallback(UART_HandleTypeDef *huart)
{
    __HAL_UART_CLEAR_PEFLAG(&huart1);
    __HAL_UART_CLEAR_FEFLAG(&huart1);
    __HAL_UART_CLEAR_NEFLAG(&huart1);
    __HAL_UART_CLEAR_IDLEFLAG(&huart1);
    __HAL_UART_CLEAR_OREFLAG(&huart1);
    HAL_UART_AbortReceive(&huart1);
    HAL_UART_Receive_IT(&huart1, &rec, 1);
}
/* USER CODE END 4 */

void Error_Handler(void)
{
    /* USER CODE BEGIN Error_Handler_Debug */
    /* User can add his own implementation to report the HAL error return state */
    __disable_irq();
    while (1)
    {
        HAL_NVIC_SystemReset();
    }
    /* USER CODE END Error_Handler_Debug */
}
